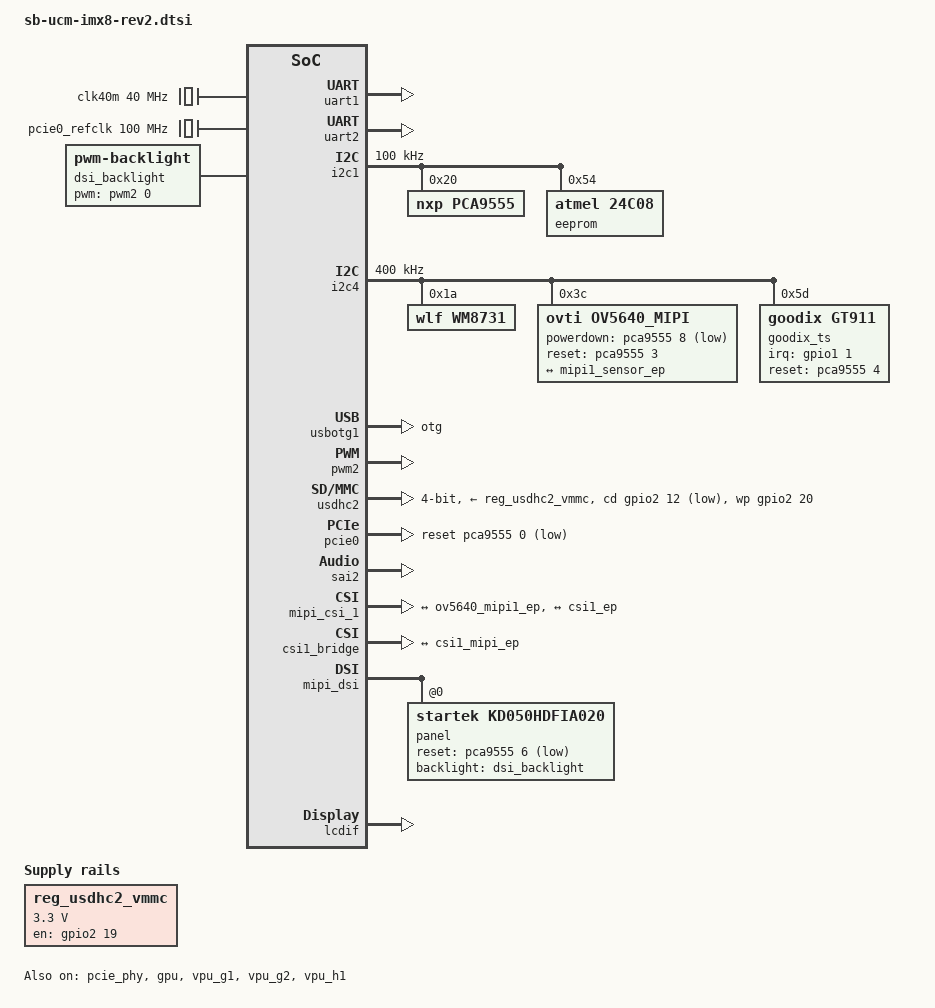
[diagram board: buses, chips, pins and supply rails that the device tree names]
/*
 * Copyright (C) 2018 CompuLab Ltd.
 *
 * This program is free software; you can redistribute it and/or
 * modify it under the terms of the GNU General Public License
 * as published by the Free Software Foundation; either version 2
 * of the License, or (at your option) any later version.
 *
 * This program is distributed in the hope that it will be useful,
 * but WITHOUT ANY WARRANTY; without even the implied warranty of
 * MERCHANTABILITY or FITNESS FOR A PARTICULAR PURPOSE. See the
 * GNU General Public License for more details.
 */

#include <dt-bindings/phy/phy-imx8-pcie.h>

/ {
	simple_sound: sound {
		compatible = "simple-audio-card";
		simple-audio-card,name = "cl-imx8m-mini";
		simple-audio-card,widgets =
			"Headphone", "Headphone Jack",
			"Line", "Line Out",
			"Microphone", "Mic Jack",
			"Line", "Line In";
		simple-audio-card,routing =
			"Headphone Jack", "RHPOUT",
			"Headphone Jack", "LHPOUT",
			"MICIN", "Mic Bias",
			"Mic Bias", "Mic Jack";
		simple-audio-card,format = "i2s";
		simple-audio-card,bitclock-master = <&sound_master>;
		simple-audio-card,frame-master = <&sound_master>;

		sound_master: simple-audio-card,cpu {
			sound-dai = <&sai2>;
			system-clock-frequency = <0>;
			system-clock-direction = "out";
		};

		sound_codec: simple-audio-card,codec {
			sound-dai = <&wm8731>;
			system-clock-direction = "in";
			system-clock-type = "mclk";
		};
	};

	clocks {
		clk40m: clk@1 {
			compatible = "fixed-clock";
			#reg = <1>;
			#clock-cells = <0>;
			clock-frequency = <40000000>;
			clock-output-names = "clk40m";
		};
	};

	pcie0_refclk: pcie0-refclk {
		compatible = "fixed-clock";
		#clock-cells = <0>;
		clock-frequency = <100000000>;
	};

	reg_usdhc2_vmmc: regulator-usdhc2 {
		compatible = "regulator-fixed";
		regulator-name = "VSD_3V3";
		regulator-min-microvolt = <3300000>;
		regulator-max-microvolt = <3300000>;
		gpio = <&gpio2 19 GPIO_ACTIVE_HIGH>;
		enable-active-high;
		startup-delay-us = <100>;
		off-on-delay-us = <12000>;
	};

	dsi_backlight: backlight {
		compatible = "pwm-backlight";
		pwms = <&pwm2 0 3000000 0>;

		brightness-levels = <0 1 2 3 4 5 6 7 8 9 10 11 12 13 14 15 16
					17 18 19 20 21 22 23 24 25 26 27 28 29 30 31 32
					33 34 35 36 37 38 39 40 41 42 43 44 45 46 47 48
					49 50 51 52 53 54 55 56 57 58 59 60 61 62 63 64
					65 66 67 68 69 70 71 72 73 74 75 76 77 78 79 80
					81 82 83 84 85 86 87 88 89 90 91 92 93 94 95 96
					97 98 99 100 101 102 103 104 105 106 107 108 109 110 111 112
					113 114 115 116 117 118 119 120 121 122 123 124 125 126 127 128
					129 130 131 132 133 134 135 136 137 138 139 140 141 142 143 144
					145 146 147 148 149 150 151 152 153 154 155 156 157 158 159 160
					161 162 163 164 165 166 167 168 169 170 171 172 173 174 175 176
					177 178 179 180 181 182 183 184 185 186 187 188 189 190 191 192
					193 194 195 196 197 198 199 200 201 202 203 204 205 206 207 208
					209 210 211 212 213 214 215 216 217 218 219 220 221 222 223 224
					225 226 227 228 229 230 231 232 233 234 235 236 237 238 239 240
					241 242 243 244 245 246 247 248 249 250 251 252 253 254 255>;
		default-brightness-level = <222>;
		status = "okay";
	};
};

&uart1 {
	pinctrl-names = "default";
	pinctrl-0 = <&pinctrl_uart1>;
	assigned-clocks = <&clk IMX8MM_CLK_UART1>;
	assigned-clock-parents = <&clk IMX8MM_SYS_PLL1_80M>;
	status = "okay";
};

&uart2 {
	pinctrl-names = "default";
	pinctrl-0 = <&pinctrl_uart2>;
	assigned-clocks = <&clk IMX8MM_CLK_UART2>;
	assigned-clock-parents = <&clk IMX8MM_SYS_PLL1_80M>;
	status = "okay";
};

&i2c1 {
	clock-frequency = <100000>;
	pinctrl-names = "default";
	pinctrl-0 = <&pinctrl_i2c1>;
	status = "okay";

	pca9555:pca9555@20 {
		compatible = "nxp,pca9555";
		gpio-controller;
		#gpio-cells = <2>;
		reg = <0x20>;
	};

	eeprom@54 {
		compatible = "atmel,24c08";
		reg = <0x54>;
		pagesize = <16>;
	};
};

&i2c3 {
	clock-frequency = <100000>;
	pinctrl-names = "default";
	pinctrl-0 = <&pinctrl_i2c3>;
	status = "disabled";
};

&i2c4 {
	clock-frequency = <400000>;
	pinctrl-names = "default";
	pinctrl-0 = <&pinctrl_i2c4>;
	status = "okay";

	wm8731: wm8731@1a {
		#sound-dai-cells = <0>;
		compatible = "wlf,wm8731";
		reg = <0x1a>;
		status = "okay";
	};

	ov5640_mipi: ov5640_mipi@3c {
		compatible = "ovti,ov5640_mipi";
		reg = <0x3c>;
		status = "okay";
		pinctrl-names = "default";
		pinctrl-0 = <&pinctrl_csi1>;
		clocks = <&clk IMX8MM_CLK_CLKO1>;
		clock-names = "csi_mclk";
		assigned-clocks = <&clk IMX8MM_CLK_CLKO1>;
		assigned-clock-parents = <&clk IMX8MM_CLK_24M>;
		assigned-clock-rates = <0>, <24000000>;
		csi_id = <0>;
		/*
		To be looked into & fixed
		As of now the device is alwas out of reset & under the power
		*/
		powerdown-gpios = <&pca9555 8 GPIO_ACTIVE_LOW>;
		reset-gpios = <&pca9555 3 GPIO_ACTIVE_HIGH>;

		mclk = <24000000>;
		mclk_source = <0>;
		mipi_csi;
		port {
			ov5640_mipi1_ep: endpoint {
				remote-endpoint = <&mipi1_sensor_ep>;
				data-lanes = <1 2>;
				clocks-lanes = <0>;
			};
		};
	};

	goodix_ts@5d {
		compatible = "goodix,gt911";
		reg = <0x5d>;

		interrupt-parent = <&gpio1>;
		interrupts = <1 IRQ_TYPE_LEVEL_HIGH>;

		pinctrl-names = "default";
		pinctrl-0 = <&touchscreen_pins>;

		irq-gpios = <&gpio1 1 GPIO_ACTIVE_HIGH>;
		reset-gpios = <&pca9555 4 GPIO_ACTIVE_HIGH>;
		status = "okay";
	};
};

&usbotg1 {
	dr_mode = "otg";
	hnp-disable;
	srp-disable;
	disable-over-current;
	status = "okay";
};

&pwm2 {
	pinctrl-names = "default";
	pinctrl-0 = <&pinctrl_pwm_backlight>;
	status = "okay";
};

&usdhc2 {
	pinctrl-names = "default", "state_100mhz", "state_200mhz";
	pinctrl-0 = <&pinctrl_usdhc2>, <&pinctrl_usdhc2_gpio>;
	pinctrl-1 = <&pinctrl_usdhc2_100mhz>, <&pinctrl_usdhc2_gpio>;
	pinctrl-2 = <&pinctrl_usdhc2_200mhz>, <&pinctrl_usdhc2_gpio>;
	cd-gpios = <&gpio2 12 GPIO_ACTIVE_LOW>;
	wp-gpios = <&gpio2 20 GPIO_ACTIVE_HIGH>;
	no-1-8-v;
	bus-width = <4>;
	vmmc-supply = <&reg_usdhc2_vmmc>;
	status = "okay";
};

&pcie_phy {
	clocks = <&pcie0_refclk>;
	clock-names = "ref";
	fsl,refclk-pad-mode = <IMX8_PCIE_REFCLK_PAD_INPUT>;
	fsl,clkreq-unsupported;
	status = "okay";
};

&pcie0 {
	reset-gpio = <&pca9555 0 GPIO_ACTIVE_LOW>;
	clocks = <&clk IMX8MM_CLK_PCIE1_ROOT>,
		 <&clk IMX8MM_CLK_PCIE1_AUX>,
		 <&clk IMX8MM_CLK_PCIE1_PHY>,
		 <&pcie0_refclk>;
	clock-names = "pcie", "pcie_aux", "pcie_phy", "pcie_bus";
	ext_osc = <1>;
	reserved-region = <&rpmsg_reserved>;
	status = "okay";
};

&sai2 {
	#sound-dai-cells = <0>;
	pinctrl-names = "default";
	pinctrl-0 = <&pinctrl_sai2>;
	assigned-clocks = <&clk IMX8MM_CLK_SAI2>;
	assigned-clock-parents = <&clk IMX8MM_AUDIO_PLL1_OUT>;
	assigned-clock-rates = <12288000>;
	status = "okay";
};

&mipi_csi_1 {
	#address-cells = <1>;
	#size-cells = <0>;
	status = "okay";
	port {
		mipi1_sensor_ep: endpoint@1 {
			remote-endpoint = <&ov5640_mipi1_ep>;
			data-lanes = <2>;
			csis-hs-settle = <13>;
			csis-clk-settle = <2>;
			csis-wclk;
		};

		csi1_mipi_ep: endpoint@2 {
			remote-endpoint = <&csi1_ep>;
		};
	};
};

&csi1_bridge {
	fsl,mipi-mode;
	status = "okay";

	port {
		csi1_ep: endpoint {
			remote-endpoint = <&csi1_mipi_ep>;
		};
	};
};

&mipi_dsi {
	status = "okay";
	panel: panel@0 {
		compatible = "startek,kd050hdfia020";
		reg = <0>;
		reset-gpios = <&pca9555 6 GPIO_ACTIVE_LOW>;
		backlight = <&dsi_backlight>;
		dsi-lanes = <4>;
		status = "okay";

	};
};

&lcdif {
	status = "okay";
};

&gpu {
	status = "okay";
};

&vpu_g1 {
	status = "okay";
};

&vpu_g2 {
	status = "okay";
};

&vpu_h1 {
	status = "okay";
};

&iomuxc {
	sb-ucm-imx8 {
		pinctrl_uart1: uart1grp {
			fsl,pins = <
				MX8MM_IOMUXC_UART1_RXD_UART1_DCE_RX	0x140
				MX8MM_IOMUXC_UART1_TXD_UART1_DCE_TX	0x140
			>;
		};

		pinctrl_uart2: uart2grp {
			fsl,pins = <
				MX8MM_IOMUXC_UART2_RXD_UART2_DCE_RX	0x140
				MX8MM_IOMUXC_UART2_TXD_UART2_DCE_TX	0x140
			>;
		};

		pinctrl_i2c1: i2c1grp {
			fsl,pins = <
				MX8MM_IOMUXC_I2C1_SCL_I2C1_SCL		0x400001c3
				MX8MM_IOMUXC_I2C1_SDA_I2C1_SDA		0x400001c3
			>;
		};

		pinctrl_i2c3: i2c3grp {
			fsl,pins = <
				MX8MM_IOMUXC_I2C3_SCL_I2C3_SCL		0x400001c3
				MX8MM_IOMUXC_I2C3_SDA_I2C3_SDA		0x400001c3
			>;
		};

		pinctrl_i2c4: i2c4grp {
			fsl,pins = <
				MX8MM_IOMUXC_I2C4_SCL_I2C4_SCL		0x400001c3
				MX8MM_IOMUXC_I2C4_SDA_I2C4_SDA		0x400001c3
			>;
		};

		pinctrl_pwm_backlight: pwm_backlightgrp {
			fsl,pins = <
				MX8MM_IOMUXC_GPIO1_IO13_PWM2_OUT	0x03
			>;
		};

		pinctrl_usdhc2_gpio: usdhc2grpgpio {
			fsl,pins = <
				MX8MM_IOMUXC_SD2_RESET_B_GPIO2_IO19	0x41
				MX8MM_IOMUXC_SD2_CD_B_GPIO2_IO12	0x41
				MX8MM_IOMUXC_SD2_WP_GPIO2_IO20		0x00
			>;
		};

		pinctrl_usdhc2: usdhc2grp {
			fsl,pins = <
				MX8MM_IOMUXC_SD2_CLK_USDHC2_CLK		0x190
				MX8MM_IOMUXC_SD2_CMD_USDHC2_CMD		0x1d0
				MX8MM_IOMUXC_SD2_DATA0_USDHC2_DATA0	0x1d0
				MX8MM_IOMUXC_SD2_DATA1_USDHC2_DATA1	0x1d0
				MX8MM_IOMUXC_SD2_DATA2_USDHC2_DATA2	0x1d0
				MX8MM_IOMUXC_SD2_DATA3_USDHC2_DATA3	0x1d0
				MX8MM_IOMUXC_GPIO1_IO04_USDHC2_VSELECT	0x1d0
			>;
		};

		pinctrl_usdhc2_100mhz: usdhc2grp100mhz {
			fsl,pins = <
				MX8MM_IOMUXC_SD2_CLK_USDHC2_CLK		0x194
				MX8MM_IOMUXC_SD2_CMD_USDHC2_CMD		0x1d4
				MX8MM_IOMUXC_SD2_DATA0_USDHC2_DATA0	0x1d4
				MX8MM_IOMUXC_SD2_DATA1_USDHC2_DATA1	0x1d4
				MX8MM_IOMUXC_SD2_DATA2_USDHC2_DATA2	0x1d4
				MX8MM_IOMUXC_SD2_DATA3_USDHC2_DATA3	0x1d4
				MX8MM_IOMUXC_GPIO1_IO04_USDHC2_VSELECT	0x1d0
			>;
		};

		pinctrl_usdhc2_200mhz: usdhc2grp200mhz {
			fsl,pins = <
				MX8MM_IOMUXC_SD2_CLK_USDHC2_CLK		0x196
				MX8MM_IOMUXC_SD2_CMD_USDHC2_CMD		0x1d6
				MX8MM_IOMUXC_SD2_DATA0_USDHC2_DATA0	0x1d6
				MX8MM_IOMUXC_SD2_DATA1_USDHC2_DATA1	0x1d6
				MX8MM_IOMUXC_SD2_DATA2_USDHC2_DATA2	0x1d6
				MX8MM_IOMUXC_SD2_DATA3_USDHC2_DATA3	0x1d6
				MX8MM_IOMUXC_GPIO1_IO04_USDHC2_VSELECT	0x1d0
			>;
		};

		pinctrl_sai2: sai2grp {
			fsl,pins = <
				MX8MM_IOMUXC_SAI2_MCLK_SAI2_MCLK        0xd6
				MX8MM_IOMUXC_SAI2_TXFS_SAI2_TX_SYNC     0xd6
				MX8MM_IOMUXC_SAI2_RXFS_SAI2_RX_SYNC     0xd6
				MX8MM_IOMUXC_SAI2_TXC_SAI2_TX_BCLK      0xd6
				MX8MM_IOMUXC_SAI2_TXD0_SAI2_TX_DATA0    0xd6
				MX8MM_IOMUXC_SAI2_RXD0_SAI2_RX_DATA0    0xd6
			>;
		};

		touchscreen_pins: tsgrp {
			fsl,pins = <
				MX8MM_IOMUXC_GPIO1_IO01_GPIO1_IO1		0x00
			>;
		};

		/*
		Copy & Paste from an MXP evk
		As of now an external OSC1 25MHz is in use
		Left as an example for the next revision
		*/
		pinctrl_csi1: csi1grp {
			fsl,pins = <
				MX8MM_IOMUXC_GPIO1_IO14_CCMSRCGPCMIX_CLKO1	0x59
			>;
		};
	};
};
